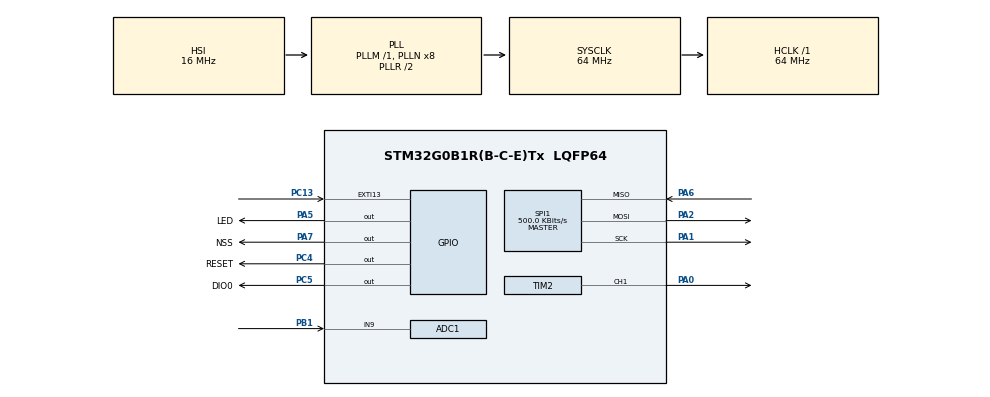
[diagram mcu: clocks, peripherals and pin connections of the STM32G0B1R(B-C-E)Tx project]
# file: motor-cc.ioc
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ADC1.Channel-4\#ChannelRegularConversion=ADC_CHANNEL_9
ADC1.ContinuousConvMode=DISABLE
ADC1.DMAContinuousRequests=DISABLE
ADC1.DiscontinuousConvMode=DISABLE
ADC1.EOCSelection=ADC_EOC_SINGLE_CONV
ADC1.NbrOfConversion=1
ADC1.NbrOfConversionFlag=1
ADC1.Rank-4\#ChannelRegularConversion=1
ADC1.SamplingTime-4\#ChannelRegularConversion=ADC_SAMPLINGTIME_COMMON_1
ADC1.SamplingTimeCommon1=ADC_SAMPLETIME_79CYCLES_5
ADC1.SamplingTimeCommon2=ADC_SAMPLETIME_79CYCLES_5
ADC1.SelectedChannel=ADC_CHANNEL_9
ADC1.master=1
Mcu.Family=STM32G0
Mcu.Name=STM32G0B1R(B-C-E)Tx
Mcu.Package=LQFP64
NVIC.EXTI4_15_IRQn=true\:0\:0\:false\:false\:true\:true\:true
NVIC.TIM2_IRQn=true\:0\:0\:false\:false\:true\:true\:true
PA0.Signal=S_TIM2_CH1_ETR
PA1.Mode=Full_Duplex_Master
PA1.Signal=SPI1_SCK
PA13.Mode=Serial_Wire
PA13.Signal=SYS_SWDIO
PA14-BOOT0.Mode=Serial_Wire
PA14-BOOT0.Signal=SYS_SWCLK
PA2.Mode=Full_Duplex_Master
PA2.Signal=SPI1_MOSI
PA5.GPIO_Label=LED
PA5.Signal=GPIO_Output
PA6.Mode=Full_Duplex_Master
PA6.Signal=SPI1_MISO
PA7.GPIO_Label=NSS
PA7.GPIO_Speed=GPIO_SPEED_FREQ_HIGH
PA7.Signal=GPIO_Output
PB1.Mode=IN9
PB1.Signal=ADC1_IN9
PC13.GPIO_ModeDefaultEXTI=GPIO_MODE_IT_FALLING
PC13.Signal=GPXTI13
PC4.GPIO_Label=RESET
PC4.Signal=GPIO_Output
PC5.GPIO_Label=DIO0
PC5.Signal=GPIO_Output
ProjectManager.HeapSize=0x200
ProjectManager.StackSize=0x400
ProjectManager.TargetToolchain=STM32CubeIDE
RCC.ADCFreq_Value=64000000
RCC.AHBFreq_Value=64000000
RCC.CortexFreq_Value=64000000
RCC.EXTERNAL_CLOCK_VALUE=48000
RCC.HCLKFreq_Value=64000000
RCC.HSE_VALUE=8000000
RCC.HSI48_VALUE=48000000
RCC.HSI_VALUE=16000000
RCC.LSE_VALUE=32768
RCC.SYSCLKFreq_VALUE=64000000
RCC.SYSCLKSource=RCC_SYSCLKSOURCE_PLLCLK
RCC.USBFreq_Value=48000000
RCC.VCOOutputFreq_Value=128000000
SH.S_TIM2_CH1_ETR.0=TIM2_CH1,PWM Generation1 CH1
SPI1.BaudRatePrescaler=SPI_BAUDRATEPRESCALER_128
SPI1.CalculateBaudRate=500.0 KBits/s
SPI1.Direction=SPI_DIRECTION_2LINES
SPI1.Mode=SPI_MODE_MASTER
SPI1.VirtualType=VM_MASTER
TIM2.Channel-PWM\ Generation1\ CH1=TIM_CHANNEL_1
TIM2.Period=999
TIM2.Prescaler=63
VP_SYS_VS_DBSignals.Mode=DisableDeadBatterySignals
VP_TIM2_VS_ClockSourceINT.Mode=Internal
board=custom

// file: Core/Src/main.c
/* USER CODE BEGIN Header */
/**
  ******************************************************************************
  * @file           : main.c
  * @brief          : Main program body
  ******************************************************************************
  * @attention
  *
  * Copyright (c) 2022 STMicroelectronics.
  * All rights reserved.
  *
  * This software is licensed under terms that can be found in the LICENSE file
  * in the root directory of this software component.
  * If no LICENSE file comes with this software, it is provided AS-IS.
  *
  ******************************************************************************
  */
/* USER CODE END Header */
#include "main.h"

/* USER CODE BEGIN Includes */
#include <stdint.h>
/* USER CODE END Includes */

ADC_HandleTypeDef hadc1;

SPI_HandleTypeDef hspi1;

TIM_HandleTypeDef htim2;

/* USER CODE BEGIN PV */
uint8_t contador;
uint32_t e_analogica, ADmax;
float tensao, media=0, corrente;

/* USER CODE END PV */

void SystemClock_Config(void);
static void MX_GPIO_Init(void);
static void MX_TIM2_Init(void);
static void MX_ADC1_Init(void);
static void MX_SPI1_Init(void);

/* USER CODE BEGIN 0 */
void PWM_Set_DC(TIM_HandleTypeDef *timer, uint32_t channel, uint8_t dc){
	uint32_t arr, ccrx;

	arr = __HAL_TIM_GET_AUTORELOAD(timer);
	if (dc <= 100){
		ccrx = arr*dc/100;

		__HAL_TIM_SET_COMPARE(timer, channel, ccrx);
	}
}

void HAL_GPIO_EXTI_Falling_Callback(uint16_t GPIO_Pin){
	contador++;

	  if(contador > 5){
		  contador = 1;
	  }
}

float calcTensao(uint16_t num){
	float temp = (3.3 * (num / 4095.0));
	return temp;
}

/* USER CODE END 0 */

int main(void)
{

  /* MCU Configuration--------------------------------------------------------*/

  /* Reset of all peripherals, Initializes the Flash interface and the Systick. */
  HAL_Init();

  /* Configure the system clock */
  SystemClock_Config();

  /* Initialize all configured peripherals */
  MX_GPIO_Init();
  MX_TIM2_Init();
  MX_ADC1_Init();
  MX_SPI1_Init();
  /* USER CODE BEGIN 2 */
  HAL_TIM_PWM_Start(&htim2, TIM_CHANNEL_1);

  PWM_Set_DC(&htim2, TIM_CHANNEL_1, 0);

  ADC_ChannelConfTypeDef sConfig = {0};
  /* USER CODE END 2 */

  /* Infinite loop */
  /* USER CODE BEGIN WHILE */
  HAL_ADCEx_Calibration_Start(&hadc1);

  while (1)
  {

	  sConfig.Channel = ADC_CHANNEL_9;
	  HAL_ADC_ConfigChannel(&hadc1, &sConfig);

	  e_analogica = 0;
	  for(int i = 0; i < 250; i++){

		  HAL_ADC_Start(&hadc1);
		  HAL_ADC_PollForConversion(&hadc1, 100);
		  e_analogica += HAL_ADC_GetValue(&hadc1);

	  }

	  e_analogica /= 250;
	  ADmax = e_analogica;

	  tensao = calcTensao(e_analogica);

	  corrente = (0.027 * e_analogica) / 3500.0;

	  switch(contador){
	  	case 1:
	  		PWM_Set_DC(&htim2, TIM_CHANNEL_1, 0);
	  		break;

	  	case 2:
	  		PWM_Set_DC(&htim2, TIM_CHANNEL_1, 30);
	  		break;

	  	case 3:
	  		PWM_Set_DC(&htim2, TIM_CHANNEL_1, 50);
	  		break;

	  	case 4:
	  		PWM_Set_DC(&htim2, TIM_CHANNEL_1, 75);
	  		break;

	  	case 5:
	  		PWM_Set_DC(&htim2, TIM_CHANNEL_1, 100);
	  		break;
	  }

    /* USER CODE END WHILE */

  }
}

void SystemClock_Config(void)
{
  RCC_OscInitTypeDef RCC_OscInitStruct = {0};
  RCC_ClkInitTypeDef RCC_ClkInitStruct = {0};

  /** Configure the main internal regulator output voltage
  */
  HAL_PWREx_ControlVoltageScaling(PWR_REGULATOR_VOLTAGE_SCALE1);
  /** Initializes the RCC Oscillators according to the specified parameters
  * in the RCC_OscInitTypeDef structure.
  */
  RCC_OscInitStruct.OscillatorType = RCC_OSCILLATORTYPE_HSI;
  RCC_OscInitStruct.HSIState = RCC_HSI_ON;
  RCC_OscInitStruct.HSIDiv = RCC_HSI_DIV1;
  RCC_OscInitStruct.HSICalibrationValue = RCC_HSICALIBRATION_DEFAULT;
  RCC_OscInitStruct.PLL.PLLState = RCC_PLL_ON;
  RCC_OscInitStruct.PLL.PLLSource = RCC_PLLSOURCE_HSI;
  RCC_OscInitStruct.PLL.PLLM = RCC_PLLM_DIV1;
  RCC_OscInitStruct.PLL.PLLN = 8;
  RCC_OscInitStruct.PLL.PLLP = RCC_PLLP_DIV2;
  RCC_OscInitStruct.PLL.PLLQ = RCC_PLLQ_DIV2;
  RCC_OscInitStruct.PLL.PLLR = RCC_PLLR_DIV2;
  if (HAL_RCC_OscConfig(&RCC_OscInitStruct) != HAL_OK)
  {
    Error_Handler();
  }
  /** Initializes the CPU, AHB and APB buses clocks
  */
  RCC_ClkInitStruct.ClockType = RCC_CLOCKTYPE_HCLK|RCC_CLOCKTYPE_SYSCLK
                              |RCC_CLOCKTYPE_PCLK1;
  RCC_ClkInitStruct.SYSCLKSource = RCC_SYSCLKSOURCE_PLLCLK;
  RCC_ClkInitStruct.AHBCLKDivider = RCC_SYSCLK_DIV1;
  RCC_ClkInitStruct.APB1CLKDivider = RCC_HCLK_DIV1;

  if (HAL_RCC_ClockConfig(&RCC_ClkInitStruct, FLASH_LATENCY_2) != HAL_OK)
  {
    Error_Handler();
  }
}

static void MX_ADC1_Init(void)
{

  ADC_ChannelConfTypeDef sConfig = {0};

  /** Configure the global features of the ADC (Clock, Resolution, Data Alignment and number of conversion)
  */
  hadc1.Instance = ADC1;
  hadc1.Init.ClockPrescaler = ADC_CLOCK_SYNC_PCLK_DIV2;
  hadc1.Init.Resolution = ADC_RESOLUTION_12B;
  hadc1.Init.DataAlign = ADC_DATAALIGN_RIGHT;
  hadc1.Init.ScanConvMode = ADC_SCAN_DISABLE;
  hadc1.Init.EOCSelection = ADC_EOC_SINGLE_CONV;
  hadc1.Init.LowPowerAutoWait = DISABLE;
  hadc1.Init.LowPowerAutoPowerOff = DISABLE;
  hadc1.Init.ContinuousConvMode = DISABLE;
  hadc1.Init.NbrOfConversion = 1;
  hadc1.Init.DiscontinuousConvMode = DISABLE;
  hadc1.Init.ExternalTrigConv = ADC_SOFTWARE_START;
  hadc1.Init.ExternalTrigConvEdge = ADC_EXTERNALTRIGCONVEDGE_NONE;
  hadc1.Init.DMAContinuousRequests = DISABLE;
  hadc1.Init.Overrun = ADC_OVR_DATA_PRESERVED;
  hadc1.Init.SamplingTimeCommon1 = ADC_SAMPLETIME_79CYCLES_5;
  hadc1.Init.SamplingTimeCommon2 = ADC_SAMPLETIME_79CYCLES_5;
  hadc1.Init.OversamplingMode = DISABLE;
  hadc1.Init.TriggerFrequencyMode = ADC_TRIGGER_FREQ_HIGH;
  if (HAL_ADC_Init(&hadc1) != HAL_OK)
  {
    Error_Handler();
  }
  /** Configure Regular Channel
  */
  sConfig.Channel = ADC_CHANNEL_9;
  sConfig.Rank = ADC_REGULAR_RANK_1;
  sConfig.SamplingTime = ADC_SAMPLINGTIME_COMMON_1;
  if (HAL_ADC_ConfigChannel(&hadc1, &sConfig) != HAL_OK)
  {
    Error_Handler();
  }

}

static void MX_SPI1_Init(void)
{

  /* SPI1 parameter configuration*/
  hspi1.Instance = SPI1;
  hspi1.Init.Mode = SPI_MODE_MASTER;
  hspi1.Init.Direction = SPI_DIRECTION_2LINES;
  hspi1.Init.DataSize = SPI_DATASIZE_8BIT;
  hspi1.Init.CLKPolarity = SPI_POLARITY_LOW;
  hspi1.Init.CLKPhase = SPI_PHASE_1EDGE;
  hspi1.Init.NSS = SPI_NSS_SOFT;
  hspi1.Init.BaudRatePrescaler = SPI_BAUDRATEPRESCALER_128;
  hspi1.Init.FirstBit = SPI_FIRSTBIT_MSB;
  hspi1.Init.TIMode = SPI_TIMODE_DISABLE;
  hspi1.Init.CRCCalculation = SPI_CRCCALCULATION_DISABLE;
  hspi1.Init.CRCPolynomial = 7;
  hspi1.Init.CRCLength = SPI_CRC_LENGTH_DATASIZE;
  hspi1.Init.NSSPMode = SPI_NSS_PULSE_ENABLE;
  if (HAL_SPI_Init(&hspi1) != HAL_OK)
  {
    Error_Handler();
  }

}

static void MX_TIM2_Init(void)
{

  TIM_ClockConfigTypeDef sClockSourceConfig = {0};
  TIM_MasterConfigTypeDef sMasterConfig = {0};
  TIM_OC_InitTypeDef sConfigOC = {0};

  htim2.Instance = TIM2;
  htim2.Init.Prescaler = 63;
  htim2.Init.CounterMode = TIM_COUNTERMODE_UP;
  htim2.Init.Period = 999;
  htim2.Init.ClockDivision = TIM_CLOCKDIVISION_DIV1;
  htim2.Init.AutoReloadPreload = TIM_AUTORELOAD_PRELOAD_DISABLE;
  if (HAL_TIM_Base_Init(&htim2) != HAL_OK)
  {
    Error_Handler();
  }
  sClockSourceConfig.ClockSource = TIM_CLOCKSOURCE_INTERNAL;
  if (HAL_TIM_ConfigClockSource(&htim2, &sClockSourceConfig) != HAL_OK)
  {
    Error_Handler();
  }
  if (HAL_TIM_PWM_Init(&htim2) != HAL_OK)
  {
    Error_Handler();
  }
  sMasterConfig.MasterOutputTrigger = TIM_TRGO_RESET;
  sMasterConfig.MasterSlaveMode = TIM_MASTERSLAVEMODE_DISABLE;
  if (HAL_TIMEx_MasterConfigSynchronization(&htim2, &sMasterConfig) != HAL_OK)
  {
    Error_Handler();
  }
  sConfigOC.OCMode = TIM_OCMODE_PWM1;
  sConfigOC.Pulse = 0;
  sConfigOC.OCPolarity = TIM_OCPOLARITY_HIGH;
  sConfigOC.OCFastMode = TIM_OCFAST_DISABLE;
  if (HAL_TIM_PWM_ConfigChannel(&htim2, &sConfigOC, TIM_CHANNEL_1) != HAL_OK)
  {
    Error_Handler();
  }
  HAL_TIM_MspPostInit(&htim2);

}

static void MX_GPIO_Init(void)
{
  GPIO_InitTypeDef GPIO_InitStruct = {0};

  /* GPIO Ports Clock Enable */
  __HAL_RCC_GPIOC_CLK_ENABLE();
  __HAL_RCC_GPIOA_CLK_ENABLE();
  __HAL_RCC_GPIOB_CLK_ENABLE();

  /*Configure GPIO pin Output Level */
  HAL_GPIO_WritePin(GPIOA, LED_Pin|NSS_Pin, GPIO_PIN_RESET);

  /*Configure GPIO pin Output Level */
  HAL_GPIO_WritePin(GPIOC, RESET_Pin|DIO0_Pin, GPIO_PIN_RESET);

  /*Configure GPIO pin : PC13 */
  GPIO_InitStruct.Pin = GPIO_PIN_13;
  GPIO_InitStruct.Mode = GPIO_MODE_IT_FALLING;
  GPIO_InitStruct.Pull = GPIO_NOPULL;
  HAL_GPIO_Init(GPIOC, &GPIO_InitStruct);

  /*Configure GPIO pin : LED_Pin */
  GPIO_InitStruct.Pin = LED_Pin;
  GPIO_InitStruct.Mode = GPIO_MODE_OUTPUT_PP;
  GPIO_InitStruct.Pull = GPIO_NOPULL;
  GPIO_InitStruct.Speed = GPIO_SPEED_FREQ_LOW;
  HAL_GPIO_Init(LED_GPIO_Port, &GPIO_InitStruct);

  /*Configure GPIO pin : NSS_Pin */
  GPIO_InitStruct.Pin = NSS_Pin;
  GPIO_InitStruct.Mode = GPIO_MODE_OUTPUT_PP;
  GPIO_InitStruct.Pull = GPIO_NOPULL;
  GPIO_InitStruct.Speed = GPIO_SPEED_FREQ_HIGH;
  HAL_GPIO_Init(NSS_GPIO_Port, &GPIO_InitStruct);

  /*Configure GPIO pins : RESET_Pin DIO0_Pin */
  GPIO_InitStruct.Pin = RESET_Pin|DIO0_Pin;
  GPIO_InitStruct.Mode = GPIO_MODE_OUTPUT_PP;
  GPIO_InitStruct.Pull = GPIO_NOPULL;
  GPIO_InitStruct.Speed = GPIO_SPEED_FREQ_LOW;
  HAL_GPIO_Init(GPIOC, &GPIO_InitStruct);

  /* EXTI interrupt init*/
  HAL_NVIC_SetPriority(EXTI4_15_IRQn, 0, 0);
  HAL_NVIC_EnableIRQ(EXTI4_15_IRQn);

}

void Error_Handler(void)
{
  __disable_irq();
  while (1)
  {
  }
}
